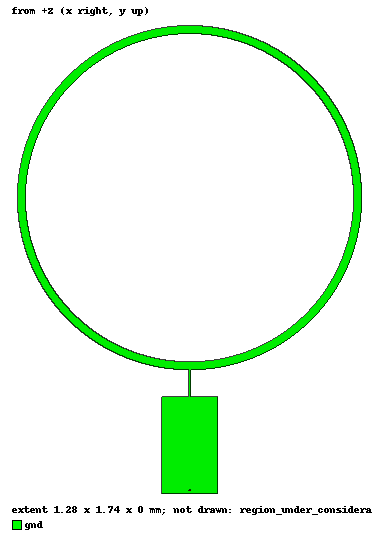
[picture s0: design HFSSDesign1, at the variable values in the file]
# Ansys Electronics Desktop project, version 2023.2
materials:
  vacuum: permittivity=1
  aluminum: permeability=1.000021 conductivity=38000000
  pec: conductivity=1e+30
  air: permittivity=1.0006 permeability=1.0000004

design HFSSDesign1 (HFSS, HFSS Terminal Network, model units mm)
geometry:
  gnd = rectangle(corner=((-0.21/2) mm, 0mm, 0mm), x_size=0.21mm, y_size=0.36mm)
  subtract_element = rectangle(corner=(-0.005mm, 0.01mm, 0mm), x_size=0.01mm, y_size=0.35mm)
  gnd.subtract(subtract_element)
  antenna = rectangle(corner=(-0.0025mm, 0.01mm, 0mm), x_size=0.005mm, y_size=0.45mm)
  circular_patch = circle(normal=Z, centre=(0mm, 1.1mm, 0mm), radius=0.64mm)
  Circle1 = circle(normal=Z, centre=(0mm, 1.1mm, 0mm), radius=0.61mm)
  circular_patch.subtract(Circle1)
  gnd.unite(antenna, circular_patch)
  port = rectangle(corner=(-0.0025mm, 0.015mm, 0mm), x_size=0.005mm, y_size=-0.005mm)
  region_under_consideration [air] = box(corner=(-0.9mm, 2mm, -2mm), size=(1.8mm, -2.1mm, 4mm))
  coordinate_system RelativeCS1 = origin=(0mm, 0mm, 100mm) x=(1mm, 0mm, 0mm) y=(0mm, 1mm, 0mm)
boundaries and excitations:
  PerfE1: Perfect E Objects=gnd
  Rad1: Radiation Objects=region_under_consideration
  1: Lumped Port Objects=port LumpedPortType=Modal Modes{Mode1{IntLine{(0, 0.015, 0) -> (0, 0.01, 0)} CharImp=Zpi RenormImp=50ohm}} Impedance=50ohm
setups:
  Setup1: HfssDriven Frequency=60GHz MaxDeltaS=0.02 MaximumPasses=6 MinimumPasses=1 MinimumConvergedPasses=1 PercentRefinement=30 BasisOrder=1 PortAccuracy=2 DrivenSolverType="Direct Solver"
    sweep Sweep: 30GHz to 90GHz, 401 points; Type=Discrete SaveFields SaveRadFields
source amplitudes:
  1:1: 1V 0deg
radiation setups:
  Infinite Sphere1: Infinite Sphere Theta=0deg..180deg step 10deg Phi=0deg..360deg step 10deg
  Rectangle1: Near Rectangle  Length=100dm Width=100dm LengthSamples=100 WidthSamples=100 CoordSystem=RelativeCS1
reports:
  S Parameter Plot 1: dB(S(1,1)) vs Freq on Setup1 : Sweep; markers m1 at 67.35GHz
  Gain Plot 1: dB(GainTotal) vs Freq on Setup1 : LastAdaptive, Infinite Sphere1 [Phi=0deg Theta=0deg]
  Gain Plot: dB(GainTotal) vs Freq on Setup1 : Sweep, Infinite Sphere1 [Phi=0deg Theta=0deg]; markers m1 at 60GHz
  3-D Polar Plot of GAIN: dB(GainTotal) vs Phi, Theta on Setup1 : LastAdaptive, Infinite Sphere1 [Freq=60GHz]
  Gain Plot 2: dB(GainTotal) vs Theta on Setup1 : LastAdaptive, Infinite Sphere1 [Phi=0deg Freq=60GHz]
  Gain Plot 3: dB(GainTotal) vs Phi on Setup1 : LastAdaptive, Infinite Sphere1 [Theta=0deg Freq=60GHz]
  Gain Plot 4: dB(GainTotal) vs Phi on Setup1 : LastAdaptive, Infinite Sphere1 [Theta=90deg Freq=60GHz]
  Radiation Pattern thetha=90': dB(GainTotal) vs Phi on Setup1 : LastAdaptive, Infinite Sphere1; markers m1 at 360deg, m2 at 180deg, m3 at 90deg, m4 at 180deg
  Near E Plot 1: dB(NearETotal) vs _u, _v on Setup1 : LastAdaptive [Freq=60GHz]
  Power Plot: dB(NearETotal)*0.000025 vs _u, _v on Setup1 : LastAdaptive [Freq=60GHz]
